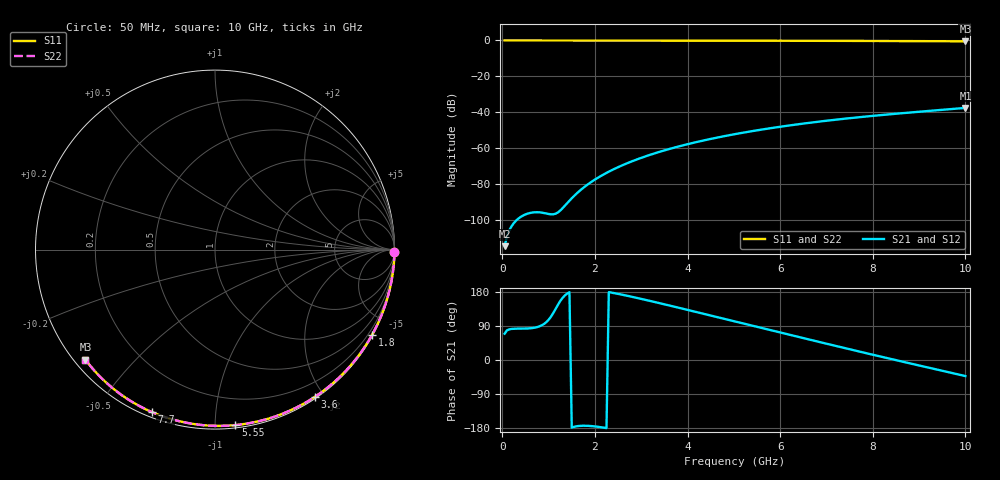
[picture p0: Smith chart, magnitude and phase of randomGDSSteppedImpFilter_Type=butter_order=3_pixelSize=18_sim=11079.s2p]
! freq	dB(S11)	phase(S11)	dB(S12)	phase(S12)
!  dB(S21)	phase(S21)	dB(S22)	phase(S22)
!S-par simulation data
#  GHz  S  DB  R 50
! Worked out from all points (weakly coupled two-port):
!   200 points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, 50 MHz to 10 GHz, reference 50 ohm
!   highest |S21| = -37.58 dB at 10 GHz (marker M1); lowest = -114.6 dB at 50 MHz (marker M2)
!   lowest |S11| = -0.5 dB at 10 GHz (marker M3), VSWR 36.94, Z = 1.54 - j18.4 ohm
!   |S11| at or under -10 dB: nowhere
!   |S22| runs from -0.5 to 0.0 dB; largest |S21 - S12| = 0
!   S11 on the Smith chart (normalised r, x): 50 MHz: open; 1.8 GHz: 0.03, -3.92; 3.6 GHz: 0.02, -1.88; 5.55 GHz: 0.02, -1.12; 7.7 GHz: 0.02, -0.68; 10 GHz: 0.03, -0.37
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0.05  -0.00 -0.8  -114.61 69.4  -114.61 69.4  -0.00 -0.8
0.45  -0.01 -7.3  -97.53 82.8  -97.53 82.8  -0.01 -7.3
0.9  -0.02 -14.5  -96.13 95.0  -96.13 95.0  -0.02 -14.5
1.75  -0.04 -27.8  -82.08 -173.5  -82.08 -173.5  -0.04 -27.8
1.8  -0.04 -28.6  -81.08 -173.5  -81.08 -173.5  -0.04 -28.6
1.85  -0.04 -29.4  -80.13 -173.7  -80.13 -173.7  -0.04 -29.4
2.15  -0.04 -34.1  -75.19 -177.8  -75.19 -177.8  -0.04 -34.1
2.35  -0.05 -37.1  -72.44 178.0  -72.44 178.0  -0.05 -37.1
2.55  -0.05 -40.2  -70.01 173.3  -70.01 173.3  -0.05 -40.2
2.95  -0.06 -46.2  -65.87 162.7  -65.87 162.7  -0.06 -46.3
3.4  -0.07 -53.0  -62.01 149.9  -62.01 149.9  -0.07 -53.0
3.6  -0.08 -55.9  -60.51 144.1  -60.51 144.1  -0.08 -55.9
3.9  -0.08 -60.3  -58.44 135.2  -58.44 135.2  -0.08 -60.3
4.3  -0.09 -66.0  -55.98 123.3  -55.98 123.3  -0.09 -66.0
5.05  -0.12 -76.6  -52.07 101.0  -52.07 101.0  -0.12 -76.6
5.55  -0.14 -83.4  -49.86 86.0  -49.86 86.0  -0.14 -83.4
6.1  -0.16 -90.8  -47.71 69.7  -47.71 69.7  -0.16 -90.8
6.7  -0.19 -98.6  -45.66 51.9  -45.66 51.9  -0.19 -98.6
7.7  -0.26 -111.3  -42.77 22.6  -42.77 22.6  -0.26 -111.3
8.35  -0.31 -119.4  -41.17 3.9  -41.17 3.9  -0.31 -119.4
9.2  -0.38 -129.9  -39.28 -20.0  -39.28 -20.0  -0.38 -129.9
10  -0.47 -139.6  -37.58 -42.4  -37.58 -42.4  -0.47 -139.6
